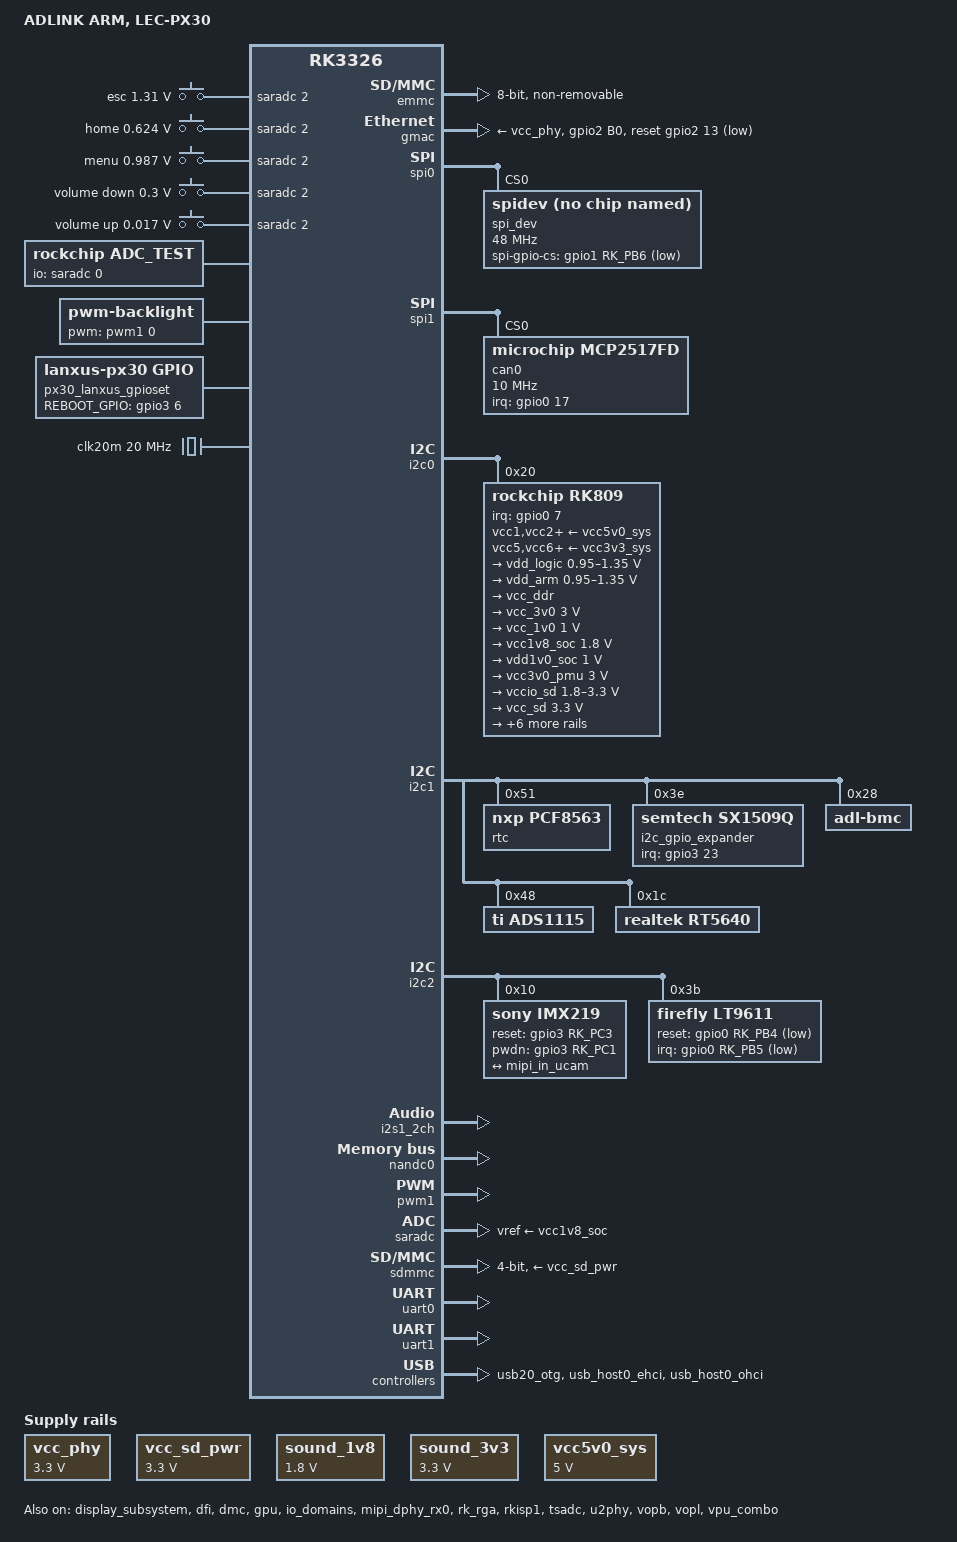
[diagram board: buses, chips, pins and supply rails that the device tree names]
// SPDX-License-Identifier: (GPL-2.0+ OR MIT)
/*
 * Copyright (c) 2018 Fuzhou Rockchip Electronics Co., Ltd
 */

/* 1 => ADV7535, 2 => IT9611 */
#define DSI2HDMI_BRIDGE 2

/dts-v1/;
#include <dt-bindings/gpio/gpio.h>
#include <dt-bindings/pinctrl/rockchip.h>
#include <dt-bindings/input/input.h>
#include <dt-bindings/display/drm_mipi_dsi.h>
#include <dt-bindings/sensor-dev.h>
#include "lec-px30.dtsi"
#include "rk3326-linux.dtsi"
//#include "lcd_1024x600_mipi.dtsi"
//#include "lcd_1920x1200_mipi.dtsi"
//#include "lcd_720x1280_mipi.dtsi"
//#include "lcd_1280x800_lvds.dtsi"
#if DSI2HDMI_BRIDGE == 1
#include "lcd_1920x1080_mipi.dtsi"
#endif
#if DSI2HDMI_BRIDGE == 2
#include "dsi2hdmi_lt9611.dtsi"
#endif

/ {

	model = "ADLINK ARM, LEC-PX30";
    compatible = "adlink,lec-px30";

	chosen {
 		//bootargs = "earlycon=uart8250,mmio32,0xff160000 swiotlb=1 console=ttyFIQ0 rw root=PARTUUID=614e0000-0000 rootwait";
		bootargs = "sd androidboot.mode=normal rw rootwait earlycon=uart8250,mmio32,0xff160000 swiotlb=1 console=ttyFIQ0 root=/dev/mmcblk0p13";
	/*	 bootargs = "console=tty1 rw root=PARTUUID=614e0000-0000 rootwait";*/
	};

	adc-keys {
		compatible = "adc-keys";
		io-channels = <&saradc 2>;
		io-channel-names = "buttons";
		poll-interval = <100>;
		keyup-threshold-microvolt = <1800000>;

		esc-key {
			linux,code = <KEY_ESC>;
			label = "esc";
			press-threshold-microvolt = <1310000>;
		};

		home-key {
			linux,code = <KEY_HOME>;
			label = "home";
			press-threshold-microvolt = <624000>;
		};

		menu-key {
			linux,code = <KEY_MENU>;
			label = "menu";
			press-threshold-microvolt = <987000>;
		};

		vol-down-key {
			linux,code = <KEY_VOLUMEDOWN>;
			label = "volume down";
			press-threshold-microvolt = <300000>;
		};

		vol-up-key {
			linux,code = <KEY_VOLUMEUP>;
			label = "volume up";
			press-threshold-microvolt = <17000>;
		};
	};

	 adc_test{
                compatible = "rockchip,adc_test";
                io-channels = <&saradc 0>;
        };

	backlight: backlight {
		compatible = "pwm-backlight";
		pwms = <&pwm1 0 25000 0>;
		brightness-levels = <
			  0   1   2   3   4   5   6   7
			  8   9  10  11  12  13  14  15
			 16  17  18  19  20  21  22  23
			 24  25  26  27  28  29  30  31
			 32  33  34  35  36  37  38  39
			 40  41  42  43  44  45  46  47
			 48  49  50  51  52  53  54  55
			 56  57  58  59  60  61  62  63
			 64  65  66  67  68  69  70  71
			 72  73  74  75  76  77  78  79
			 80  81  82  83  84  85  86  87
			 88  89  90  91  92  93  94  95
			 96  97  98  99 100 101 102 103
			104 105 106 107 108 109 110 111
			112 113 114 115 116 117 118 119
			120 121 122 123 124 125 126 127
			128 129 130 131 132 133 134 135
			136 137 138 139 140 141 142 143
			144 145 146 147 148 149 150 151
			152 153 154 155 156 157 158 159
			160 161 162 163 164 165 166 167
			168 169 170 171 172 173 174 175
			176 177 178 179 180 181 182 183
			184 185 186 187 188 189 190 191
			192 193 194 195 196 197 198 199
			200 201 202 203 204 205 206 207
			208 209 210 211 212 213 214 215
			216 217 218 219 220 221 222 223
			224 225 226 227 228 229 230 231
			232 233 234 235 236 237 238 239
			240 241 242 243 244 245 246 247
			248 249 250 251 252 253 254 255>;
		default-brightness-level = <200>;
		/*enable-gpios=<&gpio0 15 GPIO_ACTIVE_HIGH>*/
	};

	charge-animation {
		compatible = "rockchip,uboot-charge";
		rockchip,uboot-charge-on = <0>;
		rockchip,android-charge-on = <1>;
		rockchip,uboot-low-power-voltage = <3500>;
		rockchip,screen-on-voltage = <3600>;
		status = "okay";
	};
#if 0
	rk809-sound {
		compatible = "simple-audio-card";
		simple-audio-card,format = "i2s";
		simple-audio-card,name = "rockchip,rk809-codec";
		simple-audio-card,mclk-fs = <256>;
		simple-audio-card,widgets =
			"Microphone", "Mic Jack",
			"Headphone", "Headphone Jack";
		simple-audio-card,routing =
			"Mic Jack", "MICBIAS1",
			"IN1P", "Mic Jack",
			"Headphone Jack", "HPOL",
			"Headphone Jack", "HPOR";
		simple-audio-card,cpu {
			sound-dai = <&i2s1_2ch>;
		};
		simple-audio-card,codec {
			sound-dai = <&rk809_codec>;
		};
	};
#endif

#if 0
	tlv320-sound {
                compatible = "simple-audio-card";
                simple-audio-card,format = "i2s";
                simple-audio-card,name = "rockchip,tlv320-codec";
                simple-audio-card,mclk-fs = <256>;
		simple-audio-card,widgets =
			"Microphone", "Mic Jack",
			"Line", "Line In",
			"Line", "Line Out",
			"Speaker", "Speaker",
			"Headphone", "Headphone Jack";
		simple-audio-card,routing =
			"Line Out", "LLOUT",
			"Line Out", "RLOUT",
			"Headphone Jack", "HPLOUT",
			"Headphone Jack", "HPROUT",
			"MIC3L", "Mic Jack",
			"MIC3R", "Mic Jack",
			"Mic Jack", "Mic Bias",
			"LINE1L", "Line In",
			"LINE1R", "Line In";

                simple-audio-card,cpu {
                        sound-dai = <&i2s2_2ch>;
                };
                simple-audio-card,codec {
                        sound-dai = <&tlv320_codec>;
                };
        };

#endif
	rt5640-sound {
                compatible = "simple-audio-card";
                simple-audio-card,format = "i2s";
                simple-audio-card,name = "rockchip,rt5640-codec";
                simple-audio-card,mclk-fs = <256>;
                simple-audio-card,widgets =
                        "Microphone", "Mic Jack",
                        "Headphone", "Headphone Jack";
                simple-audio-card,routing =
                        "Mic Jack", "MICBIAS1",
                        "IN1P", "Mic Jack",
                        "Headphone Jack", "HPOL",
                        "Headphone Jack", "HPOR";
                simple-audio-card,cpu {
                        sound-dai = <&i2s1_2ch>;
                };
                simple-audio-card,codec {
                        sound-dai = <&rt5640>;
                };
        };


	px30_lanxus_gpioset {
		compatible = "lanxus-px30,gpio";
		pinctrl-names = "default";
		pinctrl-0 = <&lanxus_gpioset>;
		REBOOT_GPIO=<&gpio3 6  GPIO_ACTIVE_HIGH>;/*change to GPIO3_A6*/
		/*PHY_PWR = <&gpio2 8  GPIO_ACTIVE_LOW>;*/
		status = "okay";
	};
	/*
	sgtl5000-sound {
                compatible = "simple-audio-card";
                simple-audio-card,format = "i2s";
                simple-audio-card,name = "rockchip,sgtl5000-codec";
                simple-audio-card,mclk-fs = <256>;
		simple-audio-card,widgets =
			"Microphone", "Mic Jack",
			"Line", "Line In",
			"Line", "Line Out",
			"Headphone", "Headphone Jack";
		simple-audio-card,routing =
 			"MIC_IN", "Mic Jack",
 			"Mic Jack", "Mic Bias",
 			"Headphone Jack", "HP_OUT";
                simple-audio-card,cpu {
                        sound-dai = <&i2s2_2ch>;
                };
                simple-audio-card,codec {
                        sound-dai = <&sgtl5000_codec>;
                };
        };
	*/

	/*rk_headset {
		compatible = "rockchip_headset";
		headset_gpio = <&gpio2 RK_PB0 GPIO_ACTIVE_LOW>;
		pinctrl-names = "default";
		pinctrl-0 = <&hp_det>;
		io-channels = <&saradc 1>;
	};*/

/*	sdio_pwrseq: sdio-pwrseq {
		compatible = "mmc-pwrseq-simple";
		clocks = <&rk809 1>;
		clock-names = "ext_clock";
		pinctrl-names = "default";
		pinctrl-0 = <&wifi_enable_h>;
*/
		/*
		 * On the module itself this is one of these (depending
		 * on the actual card populated):
		 * - SDIO_RESET_L_WL_REG_ON
		 * - PDN (power down when low)
		 */
/*		reset-gpios = <&gpio0 RK_PA2 GPIO_ACTIVE_LOW>;
	};*/


	 clk20m: clk20m {
                compatible = "fixed-clock";
                #clock-cells = <0>;
                clock-frequency = <20000000>;
        };

	vcc_phy: vcc-phy-regulator {
		compatible = "regulator-fixed";
		regulator-name = "vcc_phy";
		/*gpio = <&gpio2 8 GPIO_ACTIVE_HIGH>;
		pinctrl-name="default";
		pinctrl-0=<&eth_phy_pwr>;*/
		regulator-always-on;
		regulator-boot-on;
		regulator-min-microvolt = <3300000>;
                regulator-max-microvolt = <3300000>;
	};

	//
        vcc_sd_pwr: sdmmc-regulator {
                compatible = "regulator-fixed";
                pinctrl-names = "default";
                pinctrl-0 = <&sdmmc_pwr>;
              	/*gpio = <&gpio0 2 GPIO_ACTIVE_HIGH>;*/
                regulator-name = "vcc_sd_pwr";
                regulator-min-microvolt = <3300000>;
                regulator-max-microvolt = <3300000>;
                /*startup-delay-us = <100000>;*/
        };



	sound_1v8: sound_1v8 {
		compatible = "regulator-fixed";
                regulator-name = "sound_1v8";
                regulator-always-on;
                regulator-boot-on;
                regulator-min-microvolt = <1800000>;
                regulator-max-microvolt = <1800000>;
	};
	
	sound_3v3: sound_3v3 {
                compatible = "regulator-fixed";
                regulator-name = "sound_3v3";
                regulator-always-on;
                regulator-boot-on;
                regulator-min-microvolt = <3300000>;
                regulator-max-microvolt = <3300000>;
        };

	vcc5v0_sys: vccsys {
		compatible = "regulator-fixed";
		regulator-name = "vcc5v0_sys";
		regulator-always-on;
		regulator-boot-on;
		regulator-min-microvolt = <5000000>;
		regulator-max-microvolt = <5000000>;
	};

	wireless-wlan {
		compatible = "wlan-platdata";
		wifi_chip_type = "rtl8723bu";
		/*WIFI,host_wake_irq = <&gpio0 RK_PB2 GPIO_ACTIVE_HIGH>;*/
		status = "okay";
	};

/*	wireless-bluetooth {
		compatible = "bluetooth-platdata";
		clocks = <&rk809 1>;
		clock-names = "ext_clock";
		uart_rts_gpios = <&gpio1 RK_PC3 GPIO_ACTIVE_LOW>;
		pinctrl-names = "default","rts_gpio";
		pinctrl-0 = <&uart1_rts>;
		pinctrl-1 = <&uart1_rts_gpio>;
		BT,reset_gpio = <&gpio2 RK_PB0 GPIO_ACTIVE_HIGH>;
		BT,wake_gpio = <&gpio0 RK_PA1 GPIO_ACTIVE_HIGH>;
		BT,wake_host_irq = <&gpio0 RK_PB3 GPIO_ACTIVE_HIGH>;
		status = "disabled";
	};*/
};

&display_subsystem {
	status = "okay";
};
/* moved lcd_1920x1200_mipi.dtsi
&dsi {
	status = "okay";

	panel@0 {
		compatible = "sitronix,st7703", "simple-panel-dsi";
		reg = <0>;
		power-supply = <&vcc3v3_lcd>;
		backlight = <&backlight>;
		prepare-delay-ms = <2>;
		reset-delay-ms = <1>;
		init-delay-ms = <20>;
		enable-delay-ms = <120>;
		disable-delay-ms = <50>;
		unprepare-delay-ms = <20>;

		width-mm = <68>;
		height-mm = <121>;

		dsi,flags = <(MIPI_DSI_MODE_VIDEO | MIPI_DSI_MODE_VIDEO_BURST |
			      MIPI_DSI_MODE_LPM | MIPI_DSI_MODE_EOT_PACKET)>;
		dsi,format = <MIPI_DSI_FMT_RGB888>;
		dsi,lanes = <4>;
*/
		/*panel-init-sequence = [
			05 fa 01 11
			39 00 04 b9 f1 12 83
			39 00 1c ba 33 81 05 f9 0e 0e 00 00 00
				 00 00 00 00 00 44 25 00 91 0a
				 00 00 02 4f 01 00 00 37
			15 00 02 b8 25
			39 00 04 bf 02 11 00
			39 00 0b b3 0c 10 0a 50 03 ff 00 00 00
				 00
			39 00 0a c0 73 73 50 50 00 00 08 70 00
			15 00 02 bc 46
			15 00 02 cc 0b
			15 00 02 b4 80
			39 00 04 b2 c8 12 30
			39 00 0f e3 07 07 0b 0b 03 0b 00 00 00
				 00 ff 00 c0 10
			39 00 0d c1 53 00 1e 1e 77 e1 cc dd 67
				 77 33 33
			39 00 07 c6 00 00 ff ff 01 ff
			39 00 03 b5 09 09
			39 00 03 b6 87 95
			39 00 40 e9 c2 10 05 05 10 05 a0 12 31
				 23 3f 81 0a a0 37 18 00 80 01
				 00 00 00 00 80 01 00 00 00 48
				 f8 86 42 08 88 88 80 88 88 88
				 58 f8 87 53 18 88 88 81 88 88
				 88 00 00 00 01 00 00 00 00 00
				 00 00 00 00
			39 00 3e ea 00 1a 00 00 00 00 02 00 00
				 00 00 00 1f 88 81 35 78 88 88
				 85 88 88 88 0f 88 80 24 68 88
				 88 84 88 88 88 23 10 00 00 1c
				 00 00 00 00 00 00 00 00 00 00
				 00 00 00 00 00 30 05 a0 00 00
				 00 00
			39 00 23 e0 00 06 08 2a 31 3f 38 36 07
				 0c 0d 11 13 12 13 11 18 00 06
				 08 2a 31 3f 38 36 07 0c 0d 11
				 13 12 13 11 18
			05 32 01 29
		];

		panel-exit-sequence = [
			05 00 01 28
			05 00 01 10
		];*/

/*		display-timings {
			native-mode = <&timing0>;

			timing0: timing0 {
				clock-frequency = <60000000>;
				hactive = <1024>;
				vactive = <600>;
				hfront-porch = <150>;
				hsync-len = <20>;
				hback-porch = <150>;
				vfront-porch = <8>;
				vsync-len = <3>;
				vback-porch = <24>;
				hsync-active = <0>;
				vsync-active = <0>;
				de-active = <0>;
				pixelclk-active = <0>;
			};
		};
	};
};
*/
&bus_apll {
	bus-supply = <&vdd_logic>;
	status = "okay";
};

&cpu0 {
	cpu-supply = <&vdd_arm>;
};

/* move to moved lcd_1920x1200_mipi.dtsi
&dsi_in_vopl {
	status = "disabled";
};
*/
&dfi {
	status = "okay";
};

&dmc {
	center-supply = <&vdd_logic>;
	status = "okay";
};

&emmc {
	bus-width = <8>;
	cap-mmc-highspeed;
	mmc-hs200-1_8v;
	supports-emmc;
	disable-wp;
	non-removable;
	num-slots = <1>;
	status = "okay";
};

&gmac {
	phy-supply = <&vcc_phy>;
	clock_in_out = "input";
        pinctrl-names = "default";
        pinctrl-0 = <&rmii_pins &mac_refclk_12ma &eth_phy_pwr>;
	snps,power-gpio= <&gpio2 8 GPIO_ACTIVE_HIGH>;
	snps,reset-gpio = <&gpio2 13 GPIO_ACTIVE_LOW>;
	snps,reset-active-low;
	snps,reset-delays-us = <0 100000 100000>;
	max-speed=<100>;
/*	tx_delay = <0x0>;
	rx_delay=<0x0>; */
	status = "okay";
};

&gpu {
	mali-supply = <&vdd_logic>;
	status = "okay";
};

&spi0 {
        status = "okay";
        max-freq = <48000000>;
	spi_dev@0 {
              status = "okay";
              compatible = "rockchip,spidev";
              reg = <0>;
              spi-max-frequency = <48000000>;
	      spi-lsb-first;
	      spi-gpio-cs= <&gpio1 RK_PB6 GPIO_ACTIVE_LOW>;
          };

 /*   spidemo@00 {
        compatible = "lanxus,px30-spi";
        reg = <0x00>;
        spi-max-frequency = <48000000>;
	spi-gpio-cs= <&gpio1 RK_PB6 GPIO_ACTIVE_LOW>;
    };*/

};


&spi1 {
        status = "okay";
        max-freq = <50000000>;

	can0: can@0 {
                compatible = "microchip,mcp2517fd";
                pinctrl-names = "default";
                pinctrl-0 = <&can_int>;
                reg = <0>;
                clocks = <&clk20m>;
                spi-max-frequency = <10000000>;
		interrupt-parent = <&gpio0>;
                interrupts = <17 IRQ_TYPE_LEVEL_LOW>;
                
        };

	/*spidev@01 {
              status = "okay";
              compatible = "rockchip,spidev";
              reg = <1>;
              spi-max-frequency = <24000000>;
          };*/
/*	can2: can@2 {
                compatible = "microchip,mcp2517fd";
                pinctrl-names = "default";
                pinctrl-0 = <&can_int>;
                reg = <1>;
                clocks = <&clk20m>;
                spi-max-frequency = <10000000>;
               interrupt-parent = <&gpio0>;
                interrupts = <17 IRQ_TYPE_LEVEL_LOW>;

        };*/


};


&i2c0 {
	status = "okay";

	rk809: pmic@20 {
		compatible = "rockchip,rk809";
		reg = <0x20>;
		interrupt-parent = <&gpio0>;
		interrupts = <7 IRQ_TYPE_LEVEL_LOW>;
		pinctrl-names = "default", "pmic-sleep",
				"pmic-power-off", "pmic-reset";
		pinctrl-0 = <&pmic_int>;
		pinctrl-1 = <&soc_slppin_slp>, <&rk817_slppin_slp>;
		pinctrl-2 = <&soc_slppin_gpio>, <&rk817_slppin_pwrdn>;
		pinctrl-3 = <&soc_slppin_rst>, <&rk817_slppin_rst>;
		rockchip,system-power-controller;
		wakeup-source;
		#clock-cells = <1>;
		clock-output-names = "rk808-clkout1", "rk808-clkout2";
		//fb-inner-reg-idxs = <2>;
		/* 1: rst regs (default in codes), 0: rst the pmic */
		pmic-reset-func = <1>;

		vcc1-supply = <&vcc5v0_sys>;
		vcc2-supply = <&vcc5v0_sys>;
		vcc3-supply = <&vcc5v0_sys>;
		vcc4-supply = <&vcc5v0_sys>;
		vcc5-supply = <&vcc3v3_sys>;
		vcc6-supply = <&vcc3v3_sys>;
		vcc7-supply = <&vcc3v3_sys>;
		vcc8-supply = <&vcc3v3_sys>;
		vcc9-supply = <&vcc5v0_sys>;

		pwrkey {
			status = "okay";
		};

		pinctrl_rk8xx: pinctrl_rk8xx {
			gpio-controller;
			#gpio-cells = <2>;

			rk817_slppin_null: rk817_slppin_null {
				pins = "gpio_slp";
				function = "pin_fun0";
			};

			rk817_slppin_slp: rk817_slppin_slp {
				pins = "gpio_slp";
				function = "pin_fun1";
			};

			rk817_slppin_pwrdn: rk817_slppin_pwrdn {
				pins = "gpio_slp";
				function = "pin_fun2";
			};

			rk817_slppin_rst: rk817_slppin_rst {
				pins = "gpio_slp";
				function = "pin_fun3";
			};
		};

		regulators {
			vdd_logic: DCDC_REG1 {
				regulator-always-on;
				regulator-boot-on;
				regulator-min-microvolt = <950000>;
				regulator-max-microvolt = <1350000>;
				regulator-ramp-delay = <6001>;
				regulator-initial-mode = <0x2>;
				regulator-name = "vdd_logic";
				regulator-state-mem {
					regulator-on-in-suspend;
					regulator-suspend-microvolt = <950000>;
				};
			};

			vdd_arm: DCDC_REG2 {
				regulator-always-on;
				regulator-boot-on;
				regulator-min-microvolt = <950000>;
				regulator-max-microvolt = <1350000>;
				regulator-ramp-delay = <6001>;
				regulator-initial-mode = <0x2>;
				regulator-name = "vdd_arm";
				regulator-state-mem {
					regulator-off-in-suspend;
					regulator-suspend-microvolt = <950000>;
				};
			};

			vcc_ddr: DCDC_REG3 {
				regulator-always-on;
				regulator-boot-on;
				regulator-name = "vcc_ddr";
				regulator-initial-mode = <0x2>;
				regulator-state-mem {
					regulator-on-in-suspend;
				};
			};

			vcc_3v0: DCDC_REG4 {
				regulator-always-on;
				regulator-boot-on;
				regulator-min-microvolt = <3000000>;
				regulator-max-microvolt = <3000000>;
				regulator-initial-mode = <0x2>;
				regulator-name = "vcc_3v0";
				regulator-state-mem {
					regulator-on-in-suspend;
					regulator-suspend-microvolt = <3000000>;
				};
			};

			vcc_1v0: LDO_REG1 {
				regulator-always-on;
				regulator-boot-on;
				regulator-min-microvolt = <1000000>;
				regulator-max-microvolt = <1000000>;
				regulator-name = "vcc_1v0";
				regulator-state-mem {
					regulator-on-in-suspend;
					regulator-suspend-microvolt = <1000000>;
				};
			};

			vcc1v8_soc: LDO_REG2 {
				regulator-always-on;
				regulator-boot-on;
				regulator-min-microvolt = <1800000>;
				regulator-max-microvolt = <1800000>;

				regulator-name = "vcc1v8_soc";
				regulator-state-mem {
					regulator-on-in-suspend;
					regulator-suspend-microvolt = <1800000>;
				};
			};

			vdd1v0_soc: LDO_REG3 {
				regulator-always-on;
				regulator-boot-on;
				regulator-min-microvolt = <1000000>;
				regulator-max-microvolt = <1000000>;

				regulator-name = "vcc1v0_soc";
				regulator-state-mem {
					regulator-on-in-suspend;
					regulator-suspend-microvolt = <1000000>;
				};
			};

			vcc3v0_pmu: LDO_REG4 {
				regulator-always-on;
				regulator-boot-on;
				regulator-min-microvolt = <3000000>;
				regulator-max-microvolt = <3000000>;

				regulator-name = "vcc3v0_pmu";
				regulator-state-mem {
					regulator-on-in-suspend;
					regulator-suspend-microvolt = <3000000>;

				};
			};

			vccio_sd: LDO_REG5 {
				regulator-always-on;
				regulator-boot-on;
				regulator-min-microvolt = <1800000>;
				regulator-max-microvolt = <3300000>;/*old 3300000*/

				regulator-name = "vccio_sd";
				regulator-state-mem {
					regulator-on-in-suspend;
					regulator-suspend-microvolt = <3300000>;
				};
			};

			vcc_sd: LDO_REG6 {
				regulator-min-microvolt = <3300000>;
				regulator-max-microvolt = <3300000>;
				regulator-boot-on;
				regulator-always-on;/*add for test*/
				regulator-name = "vcc_sd";
				regulator-state-mem {
					regulator-on-in-suspend;
					regulator-suspend-microvolt = <3300000>;

				};
			};

			vcc2v8_dvp: LDO_REG7 {
				regulator-always-on;
				regulator-boot-on;
				regulator-min-microvolt = <2800000>;
				regulator-max-microvolt = <2800000>;

				regulator-name = "vcc2v8_dvp";
				regulator-state-mem {
					regulator-off-in-suspend;
					regulator-suspend-microvolt = <2800000>;
				};
			};

			vcc1v8_dvp: LDO_REG8 {
				regulator-always-on;
				regulator-boot-on;
				regulator-min-microvolt = <1800000>;
				regulator-max-microvolt = <1800000>;

				regulator-name = "vcc1v8_dvp";
				regulator-state-mem {
					regulator-on-in-suspend;
					regulator-suspend-microvolt = <1800000>;
				};
			};

			vdd1v5_dvp: LDO_REG9 {
				regulator-always-on;
				regulator-boot-on;
				regulator-min-microvolt = <1500000>;
				regulator-max-microvolt = <1500000>;

				regulator-name = "vdd1v5_dvp";
				regulator-state-mem {
					regulator-off-in-suspend;
					regulator-suspend-microvolt = <1500000>;
				};
			};

			vcc3v3_sys: DCDC_REG5 {
				regulator-always-on;
				regulator-boot-on;
				regulator-min-microvolt = <3300000>;
				regulator-max-microvolt = <3300000>;
				regulator-name = "vcc3v3_sys";
				regulator-state-mem {
					regulator-on-in-suspend;
					regulator-suspend-microvolt = <3300000>;
				};
			};

			vcc3v3_lcd: SWITCH_REG1 {
				regulator-boot-on;
				regulator-name = "vcc3v3_lcd";
			};

			vcc5v0_host: SWITCH_REG2 {
				regulator-always-on;
				regulator-boot-on;
				regulator-name = "vcc5v0_host";
			};
		};
#if 0
		rk809_codec: codec {
			#sound-dai-cells = <0>;
			compatible = "rockchip,rk809-codec", "rockchip,rk817-codec";
			clocks = <&cru SCLK_I2S1_OUT>;
			clock-names = "mclk";
			pinctrl-names = "default";
			pinctrl-0 = <&i2s1_2ch_mclk>;
			hp-volume = <20>;
			spk-volume = <3>;
			status = "okay";
		};

#endif
	};

#if 0
	tlv320_codec: codec@18 {
                        #sound-dai-cells = <0>;
                        compatible = "ti,tlv320aic3x";
 			reg = <0x18>;
                        clocks = <&cru SCLK_I2S2_OUT>;
                        clock-names = "mclk";
                        pinctrl-names = "default";
                        pinctrl-0 = <&i2s2_2ch_mclk>;
			ai31xx-micbias-vg=<2>;
			gpio-reset=<&gpio3 23 GPIO_ACTIVE_LOW>;
			/*clock-frequency = <12000000>;*/
			AVDD-supply = <&sound_3v3>;
			IOVDD-supply = <&sound_1v8>;
			DRVDD-supply = <&sound_3v3>;
			DVDD-supply = <&sound_1v8>;
                        status = "okay";
                };
#endif
	/*sgtl5000_codec: codec@0a {
 		compatible = "fsl,sgtl5000";
		//#sound-dai-cells = <0>;
 		reg = <0x0a>;
		clocks = <&cru SCLK_I2S2_OUT>;
                clock-names = "mclk";
                pinctrl-names = "default";
                pinctrl-0 = <&i2s2_2ch_mclk>;
 		VDDA-supply = <&sound_3v3>;
 		VDDIO-supply = <&sound_1v8>;
		VDDD-supply =  <&sound_1v8>;
	};*/


	/*atecc608a@01 {
              status = "okay";
              compatible = "atmel,atecc508a";
              reg = <1>;
              clock-frequency = <1000000>;
          };*/



};

&i2c1 {
	status = "okay";
#if 0
	gslx680@40 { 
	status = "disabled";
        compatible = "9tripod,gslx680";
        reg = <0x40>;
		power-supply = <&vcc3v3_lcd>;
        touch-gpio = <&gpio0 5 IRQ_TYPE_EDGE_RISING>;
        reset-gpio = <&gpio0 12 GPIO_ACTIVE_LOW>;
        max-x = <1024>;
        max-y = <600>;
    	};

	sensor@f {
		status = "disabled";
		compatible = "ak8963";
		reg = <0x0f>;
		type = <SENSOR_TYPE_COMPASS>;
		irq_enable = <0>;
		poll_delay_ms = <30>;
		layout = <1>;
		reprobe_en = <1>;
	};

	gt1x: gt1x@14 {
		status = "disabled";
		compatible = "goodix,gt1x";
		reg = <0x14>;
		power-supply = <&vcc3v3_lcd>;
		goodix,rst-gpio = <&gpio0 RK_PB4 GPIO_ACTIVE_HIGH>;
		goodix,irq-gpio = <&gpio0 RK_PA5 IRQ_TYPE_LEVEL_LOW>;
	};

	sensor@4c {
		status = "disabled";
		compatible = "gs_mma7660";
		reg = <0x4c>;
		type = <SENSOR_TYPE_ACCEL>;
		irq-gpio = <&gpio0 RK_PB7 IRQ_TYPE_LEVEL_LOW>;
		irq_enable = <0>;
		poll_delay_ms = <30>;
		layout = <2>;
		reprobe_en = <1>;
	};
#endif

	/*rtc pcf8563 i2c0-->i2c1*/
	rtc@51 {
                compatible = "nxp,pcf8563";
                reg = <0x51>;
        };

	/*atecc608a i2c0->i2c1*/

	/*i2c1->stm32 BMC: PB7,PB8*/

	i2c_gpio_expander@3e{
		#gpio-cells = <2>;
		#interrupt-cells = <2>;
		compatible = "semtech,sx1509q";
		pinctrl-names = "default";
                pinctrl-0 = <&sx1509_int>;
		reg = <0x3e>;
		interrupt-parent = <&gpio3>;/*gpio3_c2*/
		interrupts = <23 0>;
		gpio-controller;
		interrupt-controller;
		/*oscio_is_gpo;
		reset_during_probe;*/
		pullup_ena = <0xffff>;
		pulldn_ena = <0x0>;
		open_drain_ena = <0x0>;
		polarity = <0x0>;
	};

	adl-bmc@28{
		compatible = "adl-bmc";
		reg = <0x28>;
		#address-cells = <1>;
		#size-cells = <0>;
	};

	ads1115@48{
		compatible = "ti,ads1115";
		reg = <0x48>;
		#address-cells = <1>;
		#size-cells = <0>;

		channel@0 {
			reg = <0>;
			ti,gain = <0>;
			ti,datarate = <6>;
			};

                channel@1 {
                        reg = <1>;
                        ti,gain = <0>;
                        ti,datarate = <6>;
                        };
                channel@2 {
                        reg = <2>;
                        ti,gain = <0>;
                        ti,datarate = <6>;
                        };
                channel@3 {
                        reg = <3>;
                        ti,gain = <0>;
                        ti,datarate = <6>;
                        };
                channel@4 {
                        reg = <4>;
                        ti,gain = <0>;
                        ti,datarate = <6>;
                        };
                channel@5 {
                        reg = <5>;
                        ti,gain = <0>;
                        ti,datarate = <6>;
                        };
                channel@6 {
                        reg = <6>;
                        ti,gain = <0>;
                        ti,datarate = <6>;
                        };
                channel@7 {
                        reg = <7>;
                        ti,gain = <0>;
                        ti,datarate = <6>;
                        };
		};		


/*	tlv320_codec: codec@18 {
                        #sound-dai-cells = <0>;
                        compatible = "ti,tlv320aic3x";
                        reg = <0x18>;
                        clocks = <&cru SCLK_I2S2_OUT>;
                        clock-names = "mclk";
                        pinctrl-names = "default";
                        pinctrl-0 = <&i2s2_2ch_mclk>;
                        ai31xx-micbias-vg=<2>;
                        gpio-reset=<&gpio3 23 GPIO_ACTIVE_LOW>;
                        AVDD-supply = <&sound_3v3>;
                        IOVDD-supply = <&sound_1v8>;
                        DRVDD-supply = <&sound_3v3>;
                        DVDD-supply = <&sound_1v8>;
                        status = "okay";
                };
	
*/
	rt5640: rt5640@1c {
                #sound-dai-cells = <0>;
                compatible = "realtek,rt5640";
                reg = <0x1c>;
                clocks = <&cru SCLK_I2S1_OUT>;
                clock-names = "mclk";
                //realtek,in1-differential;
                pinctrl-names = "default";
                pinctrl-0 = <&i2s1_2ch_mclk>;
                //hp-con-gpio = <&gpio4 21 GPIO_ACTIVE_HIGH>;
                //hp-det-gpio = <&gpio4 28 GPIO_ACTIVE_LOW>;
                //io-channels = <&saradc 4>;
                //hp-det-adc-value = <500>;

        };

	//ads1115
/*
-channel:
  0: Voltage over AIN0 and AIN1.
  1: Voltage over AIN0 and AIN3.
  2: Voltage over AIN1 and AIN3.
  3: Voltage over AIN2 and AIN3.
  4: Voltage over AIN0 and GND.
  5: Voltage over AIN1 and GND.
  6: Voltage over AIN2 and GND.
  7: Voltage over AIN3 and GND.
-gain:
    0: +/- 6.144 V
    1: +/- 4.096 V
    2: +/- 2.048 V (default)
    3: +/- 1.024 V
    4: +/- 0.512 V
    5: +/- 0.256 V
 - data_rate in samples per second
    0: 128
    1: 250
    2: 490
    3: 920
    4: 1600 (default)
    5: 2400
    6: 3300
*/
	/*/sys/devices/platform/ff190000.i2c/i2c-1/1-0048/in0_input*/
/*
	ads1115@48 {
            compatible = "ti,ads1115";
            reg = <0x48>;
            #address-cells = <1>;
            #size-cells = <0>;
	    channel@0 {
            reg = <0>; 
            ti,gain = <3>;
            ti,datarate = <5>;
            };
	    channel@1 {
            reg = <1>;
            ti,gain = <3>;
            ti,datarate = <5>;
            };
	    channel@2 {
            reg = <2>;
            ti,gain = <3>;
            ti,datarate = <5>;
            };
	    channel@3 {
            reg = <3>;
            ti,gain = <3>;
            ti,datarate = <5>;
            };
	    channel@4 {
            reg = <4>;
            ti,gain = <3>;
            ti,datarate = <5>;
            };
            channel@5 {
            reg = <5>;
            ti,gain = <3>;
            ti,datarate = <5>;
            };
            channel@6 {
            reg = <6>;
            ti,gain = <3>;
            ti,datarate = <5>;
            };  

	    channel@7 {
            reg = <7>;
            ti,gain = <3>;
            ti,datarate = <5>;
    	    };   				
            
    	};
*/

};

&i2c2 {
	status = "okay";

	/*clock-frequency = <100000>;*/

	/* These are relatively safe rise/fall times; TODO: measure */
	/*i2c-scl-falling-time-ns = <50>;
	i2c-scl-rising-time-ns = <300>;*/

/*	ov5695: ov5695@36 {
		compatible = "ovti,ov5695";
		reg = <0x36>;
		clocks = <&cru SCLK_CIF_OUT>;
		clock-names = "xvclk";
		//reset-gpios = <&gpio2 14 GPIO_ACTIVE_HIGH>;
		pwdn-gpios = <&gpio2 14 GPIO_ACTIVE_HIGH>;
		pinctrl-names = "default";
		pinctrl-0 = <&cif_clkout_m0>;
		port {
			ucam_out: endpoint {
				remote-endpoint = <&mipi_in_ucam>;
				data-lanes = <1 2>;
			};
		};
	};
*/

	/*vm149c: vm149c@0c {
                compatible = "silicon touch,vm149c";
                status = "okay";
                reg = <0x0c>;
                rockchip,camera-module-index = <0>;
                rockchip,camera-module-facing = "back";
        };*/
#if 0
	gt1x: gt1x@5d {
                status = "okay";
                compatible = "goodix,gt1x";
                reg = <0x5d>;
                power-supply = <&vcc3v3_lcd>;
                //goodix,rst-gpio = <&gpio0 RK_PB4 GPIO_ACTIVE_HIGH>;
                //goodix,irq-gpio = <&gpio0 RK_PA5 IRQ_TYPE_LEVEL_LOW>;
        };
#endif

#if 0
	ov13850: ov13850@10 {
                compatible = "ovti,ov13850";
                status = "okay";
                reg = <0x10>;
                clocks = <&cru SCLK_CIF_OUT>;
                clock-names = "xvclk";
                /* avdd-supply = <>; */
                /* dvdd-supply = <>; */
                /* dovdd-supply = <>; */
                /* reset-gpios = <>; */
                reset-gpios = <&gpio3 RK_PC3 GPIO_ACTIVE_HIGH>; 
                pwdn-gpios = <&gpio3 RK_PC1 GPIO_ACTIVE_HIGH>;
                pinctrl-names = "default";
                pinctrl-0 = <&cif_clkout_m0 &cam_rst &cam_pwr>;
		rockchip,camera-module-index = <0>;
                rockchip,camera-module-facing = "back";
                rockchip,camera-module-name = "TongJu";
                rockchip,camera-module-lens-name = "CHT842-MD";
		/*lens-focus = <&vm149c>;*/
                port {
                        ucam_out: endpoint {
                                remote-endpoint = <&mipi_in_ucam>;
                                data-lanes = <1 2>;
                        };
                };
        };
#endif
	 imx219: imx219@10 {
                compatible = "sony,imx219";
                reg = <0x10>;
                clocks = <&cru SCLK_CIF_OUT>;
                clock-names = "xvclk";
                /*avdd-supply = <&vcc2v8_dvp>;
                dovdd-supply = <&vdd1v5_dvp>;
                dvdd-supply = <&vcc1v8_dvp>;*/
		reset-gpios = <&gpio3 RK_PC3 GPIO_ACTIVE_HIGH>;
                pwdn-gpios = <&gpio3 RK_PC1 GPIO_ACTIVE_HIGH>;
                pinctrl-names = "default";
                pinctrl-0 = <&cif_clkout_m0 &cam_rst &cam_pwr>;
                rockchip,camera-module-index = <0>;
                rockchip,camera-module-facing = "back";
                rockchip,camera-module-name = "default";
                rockchip,camera-module-lens-name = "default";
                port {
                        ucam_out: endpoint {
                                remote-endpoint = <&mipi_in_ucam>;
                                data-lanes = <1 2>;
                        };
                };
        };

#if DSI2HDMI_BRIDGE == 2
	lt9611@3b {
		compatible = "firefly,lt9611";
		reg = <0x3b>;
		reset-gpios = <&gpio0 RK_PB4 GPIO_ACTIVE_LOW>;
		irq-gpios = <&gpio0 RK_PB5 GPIO_ACTIVE_LOW>;
	};
#endif
#if DSI2HDMI_BRIDGE == 1
	adv7535: adv7535@39 {
                compatible = "lanxus_i2c_adv7535";
                reg = <0x39>;
        }; 
#endif

#if DSI2HDMI_BRIDGE == 1
	adv_bridge: adv7535@3d {
		compatible = "adi,adv7533";
	// ok, marked by johnson to test	
		//reg = <0x39>;
		//adi,addr-cec = <0x3c>;	
	// end of marked
	
		reg = <0x39>;

                  adi,addr-cec = <0x3c>;                                                              
                adi,dsi-channel = <1>; 				
		adi,dsi-lanes = <4>;
		pinctrl-0 = <&pinctrl_7535>;
		interrupt-parent = <&gpio3>;
		interrupts = <16 IRQ_TYPE_LEVEL_LOW>;

		status = "okay";
		
		ports {
			#address-cells = <1>;
                	#size-cells = <0>;

		port@0 {
			reg=<0>;

			adv7535_bridge_out: endpoint {
				remote-endpoint = <&adv7535_panel_in>;
			};
		     };
		};
	};
#endif

};

&i2s1_2ch {
	status = "okay";
	#sound-dai-cells = <0>;
};

#if 0
&i2s2_2ch {
        status = "okay";
//	rockchip,bclk-fs = <64>;
        #sound-dai-cells = <0>;
};
#endif

&io_domains {
	status = "okay";

	vccio1-supply = <&vcc1v8_soc>;
	vccio2-supply = <&vccio_sd>;
	vccio3-supply = <&vcc_3v0>;
	 vccio4-supply = <&vcc1v8_dvp>; /*<&vcc3v0_pmu>;*/
         vccio5-supply = <&vcc1v8_soc>; /*vcc_3v0*/
	
};

&isp_mmu {
	status = "okay";
};


&mipi_dphy_rx0 {
	status = "okay";

	ports {
		#address-cells = <1>;
		#size-cells = <0>;

		port@0 {
			reg = <0>;
			#address-cells = <1>;
			#size-cells = <0>;

			mipi_in_ucam: endpoint@1 {
				reg = <1>;
				remote-endpoint = <&ucam_out>;
				data-lanes = <1 2>;
			};
		};

		port@1 {
			reg = <1>;
			#address-cells = <1>;
			#size-cells = <0>;

			dphy_rx0_out: endpoint@0 {
				reg = <0>;
				remote-endpoint = <&isp0_mipi_in>;
			};
		};
	};
};

&nandc0 {
	status = "okay";
};

&pmu_io_domains {
	status = "okay";

	pmuio1-supply = <&vcc3v0_pmu>;
	pmuio2-supply = <&vcc1v8_soc>; /* <&vcc3v0_pmu>;*/
};

&pwm1 {
	status = "okay";
};


&rk_rga {
	status = "okay";
};

&rkisp1 {
	status = "okay";

	port {
		#address-cells = <1>;
		#size-cells = <0>;

		isp0_mipi_in: endpoint@0 {
			reg = <0>;
			remote-endpoint = <&dphy_rx0_out>;
		};
	};
};

&rockchip_suspend {
	status = "okay";
	rockchip,sleep-debug-en = <1>;
};

&saradc {
	status = "okay";
	vref-supply = <&vcc1v8_soc>;
};

&sdmmc {
/*	clock-frequency = <37500000>;
	max-frequency = <37500000>;*/
	bus-width = <4>;
	cap-mmc-highspeed;
	cap-sd-highspeed;
	supports-sd;
	card-detect-delay = <800>;
	ignore-pm-notify;
	/*cd-gpios = <&gpio2 4 GPIO_ACTIVE_HIGH>; [> CD GPIO <]*/
	sd-uhs-sdr12;
	sd-uhs-sdr25;
	sd-uhs-sdr50;
	sd-uhs-sdr104;
	vqmmc-supply = <&vccio_sd>;
	vmmc-supply = <&vcc_sd_pwr>;
	status = "okay";
};

&emmc {
        bus-width = <8>;
        cap-mmc-highspeed;
        mmc-hs200-1_8v;
        supports-emmc;
        disable-wp;
        non-removable;
        num-slots = <1>;
        status = "okay";
};


&sdio {
/*	bus-width = <4>;
	cap-sd-highspeed;
	supports-sdio;
	ignore-pm-notify;
	keep-power-in-suspend;
	non-removable;
	mmc-pwrseq = <&sdio_pwrseq>;
	sd-uhs-sdr104;*/
	status = "disabled";
};

&tsadc {
	pinctrl-names = "init", "default";
	pinctrl-0 = <&tsadc_otp_gpio>;
	pinctrl-1 = <&tsadc_otp_out>;
	status = "okay";
};

/*change to uart0 debug*/
&uart0 {
        pinctrl-names = "default";
        pinctrl-0 = <&uart0_xfer /*&uart0_cts &uart0_rts*/>;
        status = "okay";
};

&uart1 {
	pinctrl-names = "default";
	pinctrl-0 = <&uart1_xfer /*&uart1_cts &uart1_rts*/>;
	status = "okay";
};

/*uart2 debug change to uart2m1*/
&uart2 {
        pinctrl-names = "default";
        pinctrl-0 = <&uart2m1_xfer>;
        status = "disabled";
};

&u2phy {
	status = "okay";

	u2phy_host: host-port {
		status = "okay";
	};

	u2phy_otg: otg-port {
		status = "okay";
	};
};

&usb20_otg {
	status = "okay";
};

&usb_host0_ehci {
	status = "okay";
};

&usb_host0_ohci {
	status = "okay";
};

&vopb {
	status = "okay";
};

&vopb_mmu {
	status = "okay";
};

&vopl {
	status = "okay";
};

&vopl_mmu {
	status = "okay";
};

&vpu_combo {
	status = "okay";
};

&pinctrl {
	/*headphone {
		hp_det: hp-det {
			rockchip,pins = <2 RK_PB0 RK_FUNC_GPIO &pcfg_pull_down>;
		};
	};*/

	pmic {
		pmic_int: pmic_int {
			rockchip,pins =
				<0 RK_PA7 RK_FUNC_GPIO &pcfg_pull_up>;
		};

		soc_slppin_gpio: soc_slppin_gpio {
			rockchip,pins =
				<0 RK_PA4 RK_FUNC_GPIO &pcfg_output_low>;
		};

		soc_slppin_slp: soc_slppin_slp {
			rockchip,pins =
				<0 RK_PA4 RK_FUNC_1 &pcfg_pull_none>;
		};

		soc_slppin_rst: soc_slppin_rst {
			rockchip,pins =
				<0 RK_PA4 RK_FUNC_2 &pcfg_pull_none>;
		};
	};

	can {
		can_int: can_int {
			rockchip,pins =
                                <0 RK_PC1 RK_FUNC_GPIO &pcfg_pull_up>;
                };

	};
  	eth_phy {
		eth_phy_pwr: eth_phy_pwr {
                        rockchip,pins =
                                <2 RK_PB0 RK_FUNC_GPIO &pcfg_pull_none>;
                };

        };

	sdmmc_pwr  {
                sdmmc_pwr: sdmmc_pwr {
                        rockchip,pins = <0 RK_PA2 RK_FUNC_GPIO &pcfg_output_high>;
                };
        };

	ov13850 {

		 cam_rst: cam_rst {
                        rockchip,pins =
                                <3 RK_PC3 RK_FUNC_GPIO &pcfg_pull_up>;
                };

		 cam_pwr: cam_pwr {
                        rockchip,pins =
                                <3 RK_PC1 RK_FUNC_GPIO &pcfg_pull_up>;
                };


	};

	i2c_gpio {
		sx1509_int: sx1509_int{
			rockchip,pins =
			 <3 RK_PC2 RK_FUNC_GPIO &pcfg_pull_up>;
		};
	};

	lcd_vdd_gpio {
                lcd_vdd_gpio_en: lcd_vdd_gpio_en {
                        rockchip,pins =
                         <3 RK_PA4 RK_FUNC_GPIO &pcfg_pull_up>;
                };
        };


	px30_lanxus_gpioset{
		lanxus_gpioset: lanxus-gpioset {
			rockchip,pins = <3 RK_PA6 RK_FUNC_GPIO &pcfg_output_high>;
		};
	};


	adv7535-int {
                pinctrl_7535: pinctrl-7535 {
                        rockchip,pins = <3 RK_PC0 RK_FUNC_GPIO &pcfg_pull_up>;
                };
        };


	/*sdio-pwrseq {
		wifi_enable_h: wifi-enable-h {
			rockchip,pins = <0 RK_PA2 RK_FUNC_GPIO &pcfg_pull_none>;
		};
	};*/
};

/* DON'T PUT ANYTHING BELOW HERE.  PUT IT ABOVE PINCTRL */
/* DON'T PUT ANYTHING BELOW HERE.  PUT IT ABOVE PINCTRL */
/* DON'T PUT ANYTHING BELOW HERE.  PUT IT ABOVE PINCTRL */

